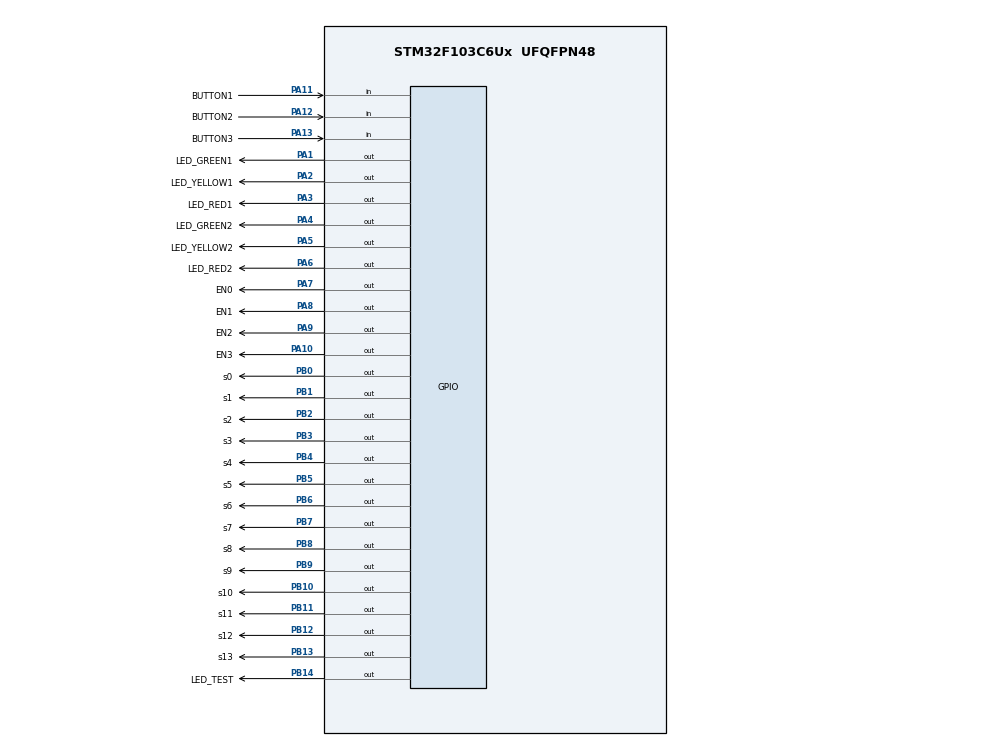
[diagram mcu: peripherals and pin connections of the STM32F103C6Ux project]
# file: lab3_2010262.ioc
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Mcu.Family=STM32F1
Mcu.Name=STM32F103C6Ux
Mcu.Package=UFQFPN48
NVIC.PriorityGroup=NVIC_PRIORITYGROUP_4
NVIC.TIM2_IRQn=true\:0\:0\:false\:false\:true\:true\:true
PA1.GPIO_Label=LED_GREEN1
PA1.Signal=GPIO_Output
PA10.GPIO_Label=EN3
PA10.Signal=GPIO_Output
PA11.GPIO_Label=BUTTON1
PA11.Signal=GPIO_Input
PA12.GPIO_Label=BUTTON2
PA12.Signal=GPIO_Input
PA13.GPIO_Label=BUTTON3
PA13.Signal=GPIO_Input
PA2.GPIO_Label=LED_YELLOW1
PA2.Signal=GPIO_Output
PA3.GPIO_Label=LED_RED1
PA3.Signal=GPIO_Output
PA4.GPIO_Label=LED_GREEN2
PA4.Signal=GPIO_Output
PA5.GPIO_Label=LED_YELLOW2
PA5.Signal=GPIO_Output
PA6.GPIO_Label=LED_RED2
PA6.Signal=GPIO_Output
PA7.GPIO_Label=EN0
PA7.Signal=GPIO_Output
PA8.GPIO_Label=EN1
PA8.Signal=GPIO_Output
PA9.GPIO_Label=EN2
PA9.Signal=GPIO_Output
PB0.GPIO_Label=s0
PB0.Signal=GPIO_Output
PB1.GPIO_Label=s1
PB1.Signal=GPIO_Output
PB10.GPIO_Label=s10
PB10.Signal=GPIO_Output
PB11.GPIO_Label=s11
PB11.Signal=GPIO_Output
PB12.GPIO_Label=s12
PB12.Signal=GPIO_Output
PB13.GPIO_Label=s13
PB13.Signal=GPIO_Output
PB14.GPIO_Label=LED_TEST
PB14.Signal=GPIO_Output
PB2.GPIO_Label=s2
PB2.Signal=GPIO_Output
PB3.GPIO_Label=s3
PB3.Signal=GPIO_Output
PB4.GPIO_Label=s4
PB4.Signal=GPIO_Output
PB5.GPIO_Label=s5
PB5.Signal=GPIO_Output
PB6.GPIO_Label=s6
PB6.Signal=GPIO_Output
PB7.GPIO_Label=s7
PB7.Signal=GPIO_Output
PB8.GPIO_Label=s8
PB8.Signal=GPIO_Output
PB9.GPIO_Label=s9
PB9.Signal=GPIO_Output
ProjectManager.HeapSize=0x200
ProjectManager.StackSize=0x400
ProjectManager.TargetToolchain=STM32CubeIDE
RCC.APB1Freq_Value=8000000
RCC.APB2Freq_Value=8000000
TIM2.Period=10
TIM2.Prescaler=7999
VP_SYS_VS_ND.Mode=No_Debug
VP_TIM2_VS_ClockSourceINT.Mode=Internal
board=custom

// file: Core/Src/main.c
/* USER CODE BEGIN Header */
/**
  ******************************************************************************
  * @file           : main.c
  * @brief          : Main program body
  ******************************************************************************
  * @attention
  *
  * <h2><center>&copy; Copyright (c) 2022 STMicroelectronics.
  * All rights reserved.</center></h2>
  *
  * This software component is licensed by ST under BSD 3-Clause license,
  * the "License"; You may not use this file except in compliance with the
  * License. You may obtain a copy of the License at:
  *                        opensource.org/licenses/BSD-3-Clause
  *
  ******************************************************************************
  */
/* USER CODE END Header */
#include "main.h"

/* USER CODE BEGIN Includes */
#include "global.h"
#include "input_reading.h"
#include "input_processing.h"
#include "fsm_automatic.h"
#include "software_timer.h"
#include "traffic.h"
#include "mode.h"
#include "fsm_7SEG.h"
#include "display7SEG.h"
/* USER CODE END Includes */

TIM_HandleTypeDef htim2;

void SystemClock_Config(void);
static void MX_GPIO_Init(void);
static void MX_TIM2_Init(void);

int main(void)
{

  /* MCU Configuration--------------------------------------------------------*/

  /* Reset of all peripherals, Initializes the Flash interface and the Systick. */
  HAL_Init();

  /* Configure the system clock */
  SystemClock_Config();

  /* Initialize all configured peripherals */
  MX_GPIO_Init();
  MX_TIM2_Init();
  /* USER CODE BEGIN 2 */
  HAL_TIM_Base_Start_IT(&htim2);
  /* USER CODE END 2 */

  /* Infinite loop */
  /* USER CODE BEGIN WHILE */
  	setTimer0(1000);
    setTimer2(500);
    while (1)
    {
  	  if (timer0_flag == 1) {
  		  HAL_GPIO_TogglePin(LED_TEST_GPIO_Port, LED_TEST_Pin);
  		  setTimer0(1000);
  	  }
  	  fsm_mode();
  	  fsm_7SEG();
    /* USER CODE END WHILE */

    }
}

void SystemClock_Config(void)
{
  RCC_OscInitTypeDef RCC_OscInitStruct = {0};
  RCC_ClkInitTypeDef RCC_ClkInitStruct = {0};

  /** Initializes the RCC Oscillators according to the specified parameters
  * in the RCC_OscInitTypeDef structure.
  */
  RCC_OscInitStruct.OscillatorType = RCC_OSCILLATORTYPE_HSI;
  RCC_OscInitStruct.HSIState = RCC_HSI_ON;
  RCC_OscInitStruct.HSICalibrationValue = RCC_HSICALIBRATION_DEFAULT;
  RCC_OscInitStruct.PLL.PLLState = RCC_PLL_NONE;
  if (HAL_RCC_OscConfig(&RCC_OscInitStruct) != HAL_OK)
  {
    Error_Handler();
  }
  /** Initializes the CPU, AHB and APB buses clocks
  */
  RCC_ClkInitStruct.ClockType = RCC_CLOCKTYPE_HCLK|RCC_CLOCKTYPE_SYSCLK
                              |RCC_CLOCKTYPE_PCLK1|RCC_CLOCKTYPE_PCLK2;
  RCC_ClkInitStruct.SYSCLKSource = RCC_SYSCLKSOURCE_HSI;
  RCC_ClkInitStruct.AHBCLKDivider = RCC_SYSCLK_DIV1;
  RCC_ClkInitStruct.APB1CLKDivider = RCC_HCLK_DIV1;
  RCC_ClkInitStruct.APB2CLKDivider = RCC_HCLK_DIV1;

  if (HAL_RCC_ClockConfig(&RCC_ClkInitStruct, FLASH_LATENCY_0) != HAL_OK)
  {
    Error_Handler();
  }
}

static void MX_TIM2_Init(void)
{

  TIM_ClockConfigTypeDef sClockSourceConfig = {0};
  TIM_MasterConfigTypeDef sMasterConfig = {0};

  htim2.Instance = TIM2;
  htim2.Init.Prescaler = 7999;
  htim2.Init.CounterMode = TIM_COUNTERMODE_UP;
  htim2.Init.Period = 10;
  htim2.Init.ClockDivision = TIM_CLOCKDIVISION_DIV1;
  htim2.Init.AutoReloadPreload = TIM_AUTORELOAD_PRELOAD_DISABLE;
  if (HAL_TIM_Base_Init(&htim2) != HAL_OK)
  {
    Error_Handler();
  }
  sClockSourceConfig.ClockSource = TIM_CLOCKSOURCE_INTERNAL;
  if (HAL_TIM_ConfigClockSource(&htim2, &sClockSourceConfig) != HAL_OK)
  {
    Error_Handler();
  }
  sMasterConfig.MasterOutputTrigger = TIM_TRGO_RESET;
  sMasterConfig.MasterSlaveMode = TIM_MASTERSLAVEMODE_DISABLE;
  if (HAL_TIMEx_MasterConfigSynchronization(&htim2, &sMasterConfig) != HAL_OK)
  {
    Error_Handler();
  }
  /* USER CODE BEGIN TIM2_Init 2 */
  CYCLE = 1/((8e6/(htim2.Init.Prescaler + 1))/htim2.Init.Period)*1000;
  /* USER CODE END TIM2_Init 2 */

}

static void MX_GPIO_Init(void)
{
  GPIO_InitTypeDef GPIO_InitStruct = {0};

  /* GPIO Ports Clock Enable */
  __HAL_RCC_GPIOA_CLK_ENABLE();
  __HAL_RCC_GPIOB_CLK_ENABLE();

  /*Configure GPIO pin Output Level */
  HAL_GPIO_WritePin(GPIOA, LED_GREEN1_Pin|LED_YELLOW1_Pin|LED_RED1_Pin|LED_GREEN2_Pin
                          |LED_YELLOW2_Pin|LED_RED2_Pin|EN0_Pin|EN1_Pin
                          |EN2_Pin|EN3_Pin, GPIO_PIN_RESET);

  /*Configure GPIO pin Output Level */
  HAL_GPIO_WritePin(GPIOB, s0_Pin|s1_Pin|s2_Pin|s10_Pin
                          |s11_Pin|s12_Pin|s13_Pin|LED_TEST_Pin
                          |s3_Pin|s4_Pin|s5_Pin|s6_Pin
                          |s7_Pin|s8_Pin|s9_Pin, GPIO_PIN_RESET);

  /*Configure GPIO pins : LED_GREEN1_Pin LED_YELLOW1_Pin LED_RED1_Pin LED_GREEN2_Pin
                           LED_YELLOW2_Pin LED_RED2_Pin EN0_Pin EN1_Pin
                           EN2_Pin EN3_Pin */
  GPIO_InitStruct.Pin = LED_GREEN1_Pin|LED_YELLOW1_Pin|LED_RED1_Pin|LED_GREEN2_Pin
                          |LED_YELLOW2_Pin|LED_RED2_Pin|EN0_Pin|EN1_Pin
                          |EN2_Pin|EN3_Pin;
  GPIO_InitStruct.Mode = GPIO_MODE_OUTPUT_PP;
  GPIO_InitStruct.Pull = GPIO_NOPULL;
  GPIO_InitStruct.Speed = GPIO_SPEED_FREQ_LOW;
  HAL_GPIO_Init(GPIOA, &GPIO_InitStruct);

  /*Configure GPIO pins : s0_Pin s1_Pin s2_Pin s10_Pin
                           s11_Pin s12_Pin s13_Pin LED_TEST_Pin
                           s3_Pin s4_Pin s5_Pin s6_Pin
                           s7_Pin s8_Pin s9_Pin */
  GPIO_InitStruct.Pin = s0_Pin|s1_Pin|s2_Pin|s10_Pin
                          |s11_Pin|s12_Pin|s13_Pin|LED_TEST_Pin
                          |s3_Pin|s4_Pin|s5_Pin|s6_Pin
                          |s7_Pin|s8_Pin|s9_Pin;
  GPIO_InitStruct.Mode = GPIO_MODE_OUTPUT_PP;
  GPIO_InitStruct.Pull = GPIO_NOPULL;
  GPIO_InitStruct.Speed = GPIO_SPEED_FREQ_LOW;
  HAL_GPIO_Init(GPIOB, &GPIO_InitStruct);

  /*Configure GPIO pins : BUTTON1_Pin BUTTON2_Pin BUTTON3_Pin */
  GPIO_InitStruct.Pin = BUTTON1_Pin|BUTTON2_Pin|BUTTON3_Pin;
  GPIO_InitStruct.Mode = GPIO_MODE_INPUT;
  GPIO_InitStruct.Pull = GPIO_NOPULL;
  HAL_GPIO_Init(GPIOA, &GPIO_InitStruct);

}

/* USER CODE BEGIN 4 */
void HAL_TIM_PeriodElapsedCallback(TIM_HandleTypeDef *htim) {
	runTimer();
	button_reading();
}
/* USER CODE END 4 */

void Error_Handler(void)
{
  __disable_irq();
  while (1)
  {
  }
}

/************************ (C) COPYRIGHT STMicroelectronics *****END OF FILE****/
